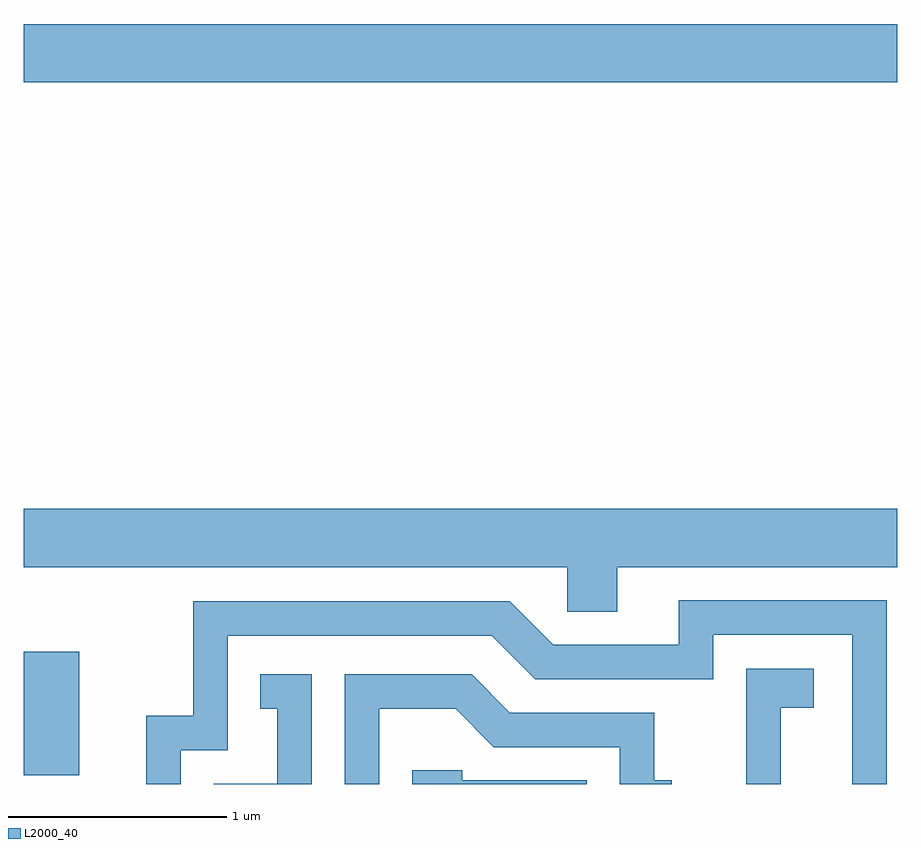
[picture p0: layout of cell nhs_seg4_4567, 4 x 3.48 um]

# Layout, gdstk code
import gdstk
lib = gdstk.Library(unit=1e-6, precision=1e-09)
def R(c, l, rs):  # rectangles x0, y0, x1, y1
    for r in rs: c.add(gdstk.rectangle(r[:2], r[2:], *l))
def P(c, l, *ps):  # polygons
    for p in ps: c.add(gdstk.Polygon(p, *l))
L2000_40 = (2000, 40)

nhs_seg4_4567 = lib.new_cell('nhs_seg4_4567')
R(nhs_seg4_4567, L2000_40, [(319.611,1276.021,319.864,1276.589), (319.611,1279.196,323.611,1279.464)])
P(nhs_seg4_4567, L2000_40, [(322.329,1276.976),(323.611,1276.976),(323.611,1277.244),(319.611,1277.244),(319.611,1276.976),(322.101,1276.976),(322.101,1276.771),(322.329,1276.771)],
  [(320.329,1276.136),(320.544,1276.136),(320.544,1276.661),(321.754,1276.661),(321.954,1276.461),(322.769,1276.461),(322.769,1276.666),(323.406,1276.666),(323.406,1275.982),(323.564,1275.982),(323.564,1276.824),(322.611,1276.824),(322.611,1276.619),(322.037,1276.619),(321.837,1276.819),(320.386,1276.819),(320.386,1276.294),(320.171,1276.294),(320.171,1275.982),(320.329,1275.982)],
  [(323.079,1276.331),(323.229,1276.331),(323.229,1276.509),(322.921,1276.509),(322.921,1275.982),(323.079,1275.982)],
  [(320.929,1276.484),(320.693,1276.484),(320.693,1276.326),(320.771,1276.326),(320.771,1275.984),(320.481,1275.984),(320.481,1275.982),(320.929,1275.982)],
  [(321.239,1276.326),(321.589,1276.326),(321.764,1276.151),(322.341,1276.151),(322.341,1275.982),(322.578,1275.982),(322.578,1275.999),(322.499,1275.999),(322.499,1276.309),(321.837,1276.309),(321.662,1276.484),(321.081,1276.484),(321.081,1275.982),(321.239,1275.982)],
  [(322.189,1275.999),(321.619,1275.999),(321.619,1276.044),(321.391,1276.044),(321.391,1275.982),(322.189,1275.982)])

lib.write_gds('nhs_seg4_4567.gds')
